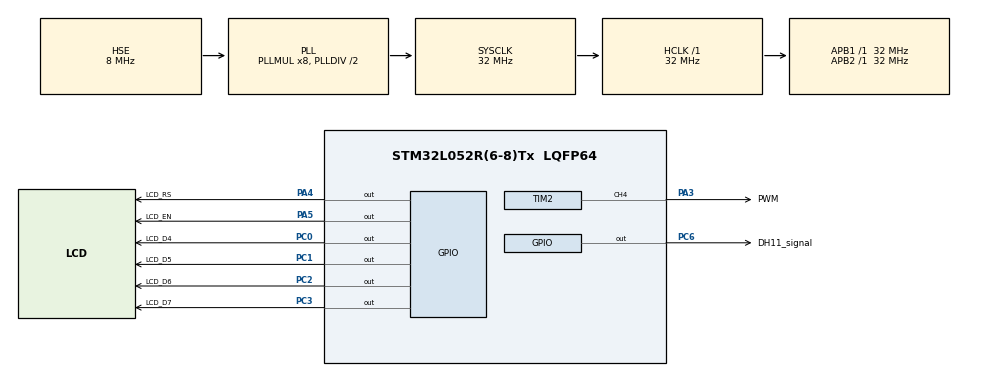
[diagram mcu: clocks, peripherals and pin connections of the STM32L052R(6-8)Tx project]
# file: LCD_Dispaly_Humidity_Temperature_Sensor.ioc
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Mcu.Family=STM32L0
Mcu.Name=STM32L052R(6-8)Tx
Mcu.Package=LQFP64
NVIC.TIM2_IRQn=true\:3\:0\:true\:false\:true\:true
NVIC.TIM6_DAC_IRQn=true\:2\:0\:true\:false\:true\:true
PA13.Mode=Serial_Wire
PA13.Signal=SYS_SWDIO
PA14.Mode=Serial_Wire
PA14.Signal=SYS_SWCLK
PA3.GPIO_Label=PWM
PA3.Signal=S_TIM2_CH4
PA4.GPIO_Label=LCD_RS
PA4.Signal=GPIO_Output
PA5.GPIO_Label=LCD_EN
PA5.Signal=GPIO_Output
PC0.GPIO_Label=LCD_D4
PC0.Signal=GPIO_Output
PC1.GPIO_Label=LCD_D5
PC1.Signal=GPIO_Output
PC14-OSC32_IN.Mode=LSE-External-Oscillator
PC14-OSC32_IN.Signal=RCC_OSC32_IN
PC15-OSC32_OUT.Mode=LSE-External-Oscillator
PC15-OSC32_OUT.Signal=RCC_OSC32_OUT
PC2.GPIO_Label=LCD_D6
PC2.Signal=GPIO_Output
PC3.GPIO_Label=LCD_D7
PC3.Signal=GPIO_Output
PC6.GPIO_Label=DH11_signal
PC6.PinState=GPIO_PIN_SET
PC6.Signal=GPIO_Output
PH0-OSC_IN.Mode=HSE-External-Oscillator
PH0-OSC_IN.Signal=RCC_OSC_IN
PH1-OSC_OUT.Mode=HSE-External-Oscillator
PH1-OSC_OUT.Signal=RCC_OSC_OUT
ProjectManager.HeapSize=0x200
ProjectManager.StackSize=0x400
ProjectManager.TargetToolchain=MDK-ARM V5
RCC.AHBFreq_Value=32000000
RCC.APB1Freq_Value=32000000
RCC.APB1TimFreq_Value=32000000
RCC.APB2Freq_Value=32000000
RCC.APB2TimFreq_Value=32000000
RCC.HCLKFreq_Value=32000000
RCC.HSE_VALUE=8000000
RCC.HSI16_VALUE=16000000
RCC.HSI48_VALUE=48000000
RCC.HSI_VALUE=16000000
RCC.MSI_VALUE=2097000
RCC.PLLMUL=RCC_PLLMUL_8
RCC.PLLSourceVirtual=RCC_PLLSOURCE_HSE
RCC.SYSCLKFreq_VALUE=32000000
RCC.SYSCLKSource=RCC_SYSCLKSOURCE_PLLCLK
RCC.VCOOutputFreq_Value=64000000
SH.S_TIM2_CH4.0=TIM2_CH4,PWM Generation4 CH4
TIM2.Channel-PWM\ Generation4\ CH4=TIM_CHANNEL_4
TIM2.Period=1000
TIM2.Prescaler=32
TIM21.Period=65535
TIM21.Prescaler=32
TIM6.Period=1000
TIM6.Prescaler=32
VP_TIM21_VS_ClockSourceINT.Mode=Internal
VP_TIM2_VS_ClockSourceINT.Mode=Internal
VP_TIM6_VS_ClockSourceINT.Mode=Enable_Timer
board=LCD_Dispaly_Humidity_Temperature_Sensor

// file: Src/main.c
/**
  ******************************************************************************
  * @file           : main.c
  * @brief          : Main program body
  ******************************************************************************
  ** This notice applies to any and all portions of this file
  * that are not between comment pairs USER CODE BEGIN and
  * USER CODE END. Other portions of this file, whether
  * inserted by the user or by software development tools
  * are owned by their respective copyright owners.
  *
  * COPYRIGHT(c) 2018 STMicroelectronics
  *
  * Redistribution and use in source and binary forms, with or without modification,
  * are permitted provided that the following conditions are met:
  *   1. Redistributions of source code must retain the above copyright notice,
  *      this list of conditions and the following disclaimer.
  *   2. Redistributions in binary form must reproduce the above copyright notice,
  *      this list of conditions and the following disclaimer in the documentation
  *      and/or other materials provided with the distribution.
  *   3. Neither the name of STMicroelectronics nor the names of its contributors
  *      may be used to endorse or promote products derived from this software
  *      without specific prior written permission.
  *
  * THIS SOFTWARE IS PROVIDED BY THE COPYRIGHT HOLDERS AND CONTRIBUTORS "AS IS"
  * AND ANY EXPRESS OR IMPLIED WARRANTIES, INCLUDING, BUT NOT LIMITED TO, THE
  * IMPLIED WARRANTIES OF MERCHANTABILITY AND FITNESS FOR A PARTICULAR PURPOSE ARE
  * DISCLAIMED. IN NO EVENT SHALL THE COPYRIGHT HOLDER OR CONTRIBUTORS BE LIABLE
  * FOR ANY DIRECT, INDIRECT, INCIDENTAL, SPECIAL, EXEMPLARY, OR CONSEQUENTIAL
  * DAMAGES (INCLUDING, BUT NOT LIMITED TO, PROCUREMENT OF SUBSTITUTE GOODS OR
  * SERVICES; LOSS OF USE, DATA, OR PROFITS; OR BUSINESS INTERRUPTION) HOWEVER
  * CAUSED AND ON ANY THEORY OF LIABILITY, WHETHER IN CONTRACT, STRICT LIABILITY,
  * OR TORT (INCLUDING NEGLIGENCE OR OTHERWISE) ARISING IN ANY WAY OUT OF THE USE
  * OF THIS SOFTWARE, EVEN IF ADVISED OF THE POSSIBILITY OF SUCH DAMAGE.
  *
  ******************************************************************************
  */
#include "main.h"
#include "stm32l0xx_hal.h"

/* USER CODE BEGIN Includes */
#include <string.h>
/* USER CODE END Includes */

TIM_HandleTypeDef htim2;
TIM_HandleTypeDef htim6;
TIM_HandleTypeDef htim21;

/* USER CODE BEGIN PV */
/* Private variables ---------------------------------------------------------*/
typedef struct{
	uint8_t temparature;
	uint8_t humidity;
}DH11_Dev;

uint8_t Message[][32]={
				"Hello World My name is XXX",
				"Humidity=",
				"Temperature=",
};

uint16_t timer6 = 0;
int8_t Is_it_wrong;

/* USER CODE END PV */

void SystemClock_Config(void);
static void MX_GPIO_Init(void);
static void MX_TIM2_Init(void);
static void MX_TIM6_Init(void);
static void MX_TIM21_Init(void);
void HAL_TIM_MspPostInit(TIM_HandleTypeDef *htim);

/* USER CODE BEGIN PFP */
/* Private function prototypes -----------------------------------------------*/

void delay_us(uint16_t _1us);
void LCD_initial(void);
void LCD_Write_instruction(uint8_t data);
void LCD_Write_Data(uint8_t data);
void LCD_Write_instruction_8Bits(uint8_t data);
void LCD_Write_Data_8Bits(uint8_t data);
void LCD_Clear_Display(void);
void LCD_Return_Home(void);
void LCD_Entry_Mode_Set(uint8_t I_D,uint8_t S);
void LCD_Display_ON_OFF_Control(uint8_t D,uint8_t C,uint8_t B);
void LCD_Cursor_or_Display_Shift(uint8_t S_C,uint8_t R_L);
void LCD_Function_Configure(uint8_t DL,uint8_t N,uint8_t F);
void LCD_Set_CGRAM_Address(uint8_t AC_5bits);
void LCD_Set_DDRAM_Address(uint8_t AC_6bits);
void LCD_String_Display(uint8_t a,uint8_t b);

int8_t DH11_Read(DH11_Dev* dev);

/* USER CODE END PFP */

/* USER CODE BEGIN 0 */
void HAL_TIM_PeriodElapsedCallback(TIM_HandleTypeDef *htim){
	if(htim->Instance == TIM6){
		timer6 = (timer6 > 0)?timer6 - 1:0;
	}
}
/* USER CODE END 0 */

int main(void)
{
  /* USER CODE BEGIN 1 */
	uint8_t i = 0;
	uint16_t PWM_Value = 800;
	DH11_Dev DH11;
  /* USER CODE END 1 */

  /* MCU Configuration----------------------------------------------------------*/

  /* Reset of all peripherals, Initializes the Flash interface and the Systick. */
  HAL_Init();

  /* Configure the system clock */
  SystemClock_Config();

  /* Initialize all configured peripherals */
  MX_GPIO_Init();
  MX_TIM2_Init();
  MX_TIM6_Init();
  MX_TIM21_Init();
  /* USER CODE BEGIN 2 */
	LCD_initial();

	HAL_TIM_Base_Start_IT(&htim6);
	HAL_TIM_Base_Start(&htim21);
	HAL_TIM_PWM_Start_IT(&htim2,TIM_CHANNEL_4);
	__HAL_TIM_SET_COMPARE(&htim2,TIM_CHANNEL_4,PWM_Value);
	LCD_String_Display(0x00,0);
	LCD_Write_instruction_8Bits(0x80|20);
	for(i=0;i<strlen("Humidity=");i++)
		LCD_Write_Data_8Bits(Message[1][i]);
	LCD_Write_instruction_8Bits(0xC0|20);
	for(i=0;i<strlen("Temperature=");i++)
		LCD_Write_Data_8Bits(Message[2][i]);
	//HAL_Delay(500);;
  /* USER CODE END 2 */

  /* Infinite loop */
  /* USER CODE BEGIN WHILE */
  while (1)
  {
		if(timer6 == 0){
			timer6 = 499;
			Is_it_wrong = DH11_Read(&DH11);
			LCD_Write_instruction_8Bits(0x80|29);
			LCD_Write_Data_8Bits(((DH11.humidity/10)%10)+ 0x30);
			LCD_Write_Data_8Bits((DH11.humidity%10)+ 0x30);
			LCD_Write_instruction_8Bits(0xC0|32);
			LCD_Write_Data_8Bits(((DH11.temparature/10)%10)+ 0x30);
			LCD_Write_Data_8Bits((DH11.temparature%10)+ 0x30);
		}
  /* USER CODE END WHILE */

  }

}

void SystemClock_Config(void)
{

  RCC_OscInitTypeDef RCC_OscInitStruct;
  RCC_ClkInitTypeDef RCC_ClkInitStruct;

    /**Configure the main internal regulator output voltage
    */
  __HAL_PWR_VOLTAGESCALING_CONFIG(PWR_REGULATOR_VOLTAGE_SCALE1);

    /**Initializes the CPU, AHB and APB busses clocks
    */
  RCC_OscInitStruct.OscillatorType = RCC_OSCILLATORTYPE_HSE;
  RCC_OscInitStruct.HSEState = RCC_HSE_ON;
  RCC_OscInitStruct.PLL.PLLState = RCC_PLL_ON;
  RCC_OscInitStruct.PLL.PLLSource = RCC_PLLSOURCE_HSE;
  RCC_OscInitStruct.PLL.PLLMUL = RCC_PLLMUL_8;
  RCC_OscInitStruct.PLL.PLLDIV = RCC_PLLDIV_2;
  if (HAL_RCC_OscConfig(&RCC_OscInitStruct) != HAL_OK)
  {
    _Error_Handler(__FILE__, __LINE__);
  }

    /**Initializes the CPU, AHB and APB busses clocks
    */
  RCC_ClkInitStruct.ClockType = RCC_CLOCKTYPE_HCLK|RCC_CLOCKTYPE_SYSCLK
                              |RCC_CLOCKTYPE_PCLK1|RCC_CLOCKTYPE_PCLK2;
  RCC_ClkInitStruct.SYSCLKSource = RCC_SYSCLKSOURCE_PLLCLK;
  RCC_ClkInitStruct.AHBCLKDivider = RCC_SYSCLK_DIV1;
  RCC_ClkInitStruct.APB1CLKDivider = RCC_HCLK_DIV1;
  RCC_ClkInitStruct.APB2CLKDivider = RCC_HCLK_DIV1;

  if (HAL_RCC_ClockConfig(&RCC_ClkInitStruct, FLASH_LATENCY_1) != HAL_OK)
  {
    _Error_Handler(__FILE__, __LINE__);
  }

    /**Configure the Systick interrupt time
    */
  HAL_SYSTICK_Config(HAL_RCC_GetHCLKFreq()/1000);

    /**Configure the Systick
    */
  HAL_SYSTICK_CLKSourceConfig(SYSTICK_CLKSOURCE_HCLK);

  /* SysTick_IRQn interrupt configuration */
  HAL_NVIC_SetPriority(SysTick_IRQn, 0, 0);
}

/* TIM2 init function */
static void MX_TIM2_Init(void)
{

  TIM_ClockConfigTypeDef sClockSourceConfig;
  TIM_MasterConfigTypeDef sMasterConfig;
  TIM_OC_InitTypeDef sConfigOC;

  htim2.Instance = TIM2;
  htim2.Init.Prescaler = 32;
  htim2.Init.CounterMode = TIM_COUNTERMODE_UP;
  htim2.Init.Period = 1000;
  htim2.Init.ClockDivision = TIM_CLOCKDIVISION_DIV1;
  if (HAL_TIM_Base_Init(&htim2) != HAL_OK)
  {
    _Error_Handler(__FILE__, __LINE__);
  }

  sClockSourceConfig.ClockSource = TIM_CLOCKSOURCE_INTERNAL;
  if (HAL_TIM_ConfigClockSource(&htim2, &sClockSourceConfig) != HAL_OK)
  {
    _Error_Handler(__FILE__, __LINE__);
  }

  if (HAL_TIM_PWM_Init(&htim2) != HAL_OK)
  {
    _Error_Handler(__FILE__, __LINE__);
  }

  sMasterConfig.MasterOutputTrigger = TIM_TRGO_RESET;
  sMasterConfig.MasterSlaveMode = TIM_MASTERSLAVEMODE_DISABLE;
  if (HAL_TIMEx_MasterConfigSynchronization(&htim2, &sMasterConfig) != HAL_OK)
  {
    _Error_Handler(__FILE__, __LINE__);
  }

  sConfigOC.OCMode = TIM_OCMODE_PWM1;
  sConfigOC.Pulse = 0;
  sConfigOC.OCPolarity = TIM_OCPOLARITY_HIGH;
  sConfigOC.OCFastMode = TIM_OCFAST_DISABLE;
  if (HAL_TIM_PWM_ConfigChannel(&htim2, &sConfigOC, TIM_CHANNEL_4) != HAL_OK)
  {
    _Error_Handler(__FILE__, __LINE__);
  }

  HAL_TIM_MspPostInit(&htim2);

}

/* TIM6 init function */
static void MX_TIM6_Init(void)
{

  TIM_MasterConfigTypeDef sMasterConfig;

  htim6.Instance = TIM6;
  htim6.Init.Prescaler = 32;
  htim6.Init.CounterMode = TIM_COUNTERMODE_UP;
  htim6.Init.Period = 1000;
  if (HAL_TIM_Base_Init(&htim6) != HAL_OK)
  {
    _Error_Handler(__FILE__, __LINE__);
  }

  sMasterConfig.MasterOutputTrigger = TIM_TRGO_RESET;
  sMasterConfig.MasterSlaveMode = TIM_MASTERSLAVEMODE_DISABLE;
  if (HAL_TIMEx_MasterConfigSynchronization(&htim6, &sMasterConfig) != HAL_OK)
  {
    _Error_Handler(__FILE__, __LINE__);
  }

}

/* TIM21 init function */
static void MX_TIM21_Init(void)
{

  TIM_ClockConfigTypeDef sClockSourceConfig;
  TIM_MasterConfigTypeDef sMasterConfig;

  htim21.Instance = TIM21;
  htim21.Init.Prescaler = 32;
  htim21.Init.CounterMode = TIM_COUNTERMODE_UP;
  htim21.Init.Period = 65535;
  htim21.Init.ClockDivision = TIM_CLOCKDIVISION_DIV1;
  if (HAL_TIM_Base_Init(&htim21) != HAL_OK)
  {
    _Error_Handler(__FILE__, __LINE__);
  }

  sClockSourceConfig.ClockSource = TIM_CLOCKSOURCE_INTERNAL;
  if (HAL_TIM_ConfigClockSource(&htim21, &sClockSourceConfig) != HAL_OK)
  {
    _Error_Handler(__FILE__, __LINE__);
  }

  sMasterConfig.MasterOutputTrigger = TIM_TRGO_RESET;
  sMasterConfig.MasterSlaveMode = TIM_MASTERSLAVEMODE_DISABLE;
  if (HAL_TIMEx_MasterConfigSynchronization(&htim21, &sMasterConfig) != HAL_OK)
  {
    _Error_Handler(__FILE__, __LINE__);
  }

}

/** Configure pins as
        * Analog
        * Input
        * Output
        * EVENT_OUT
        * EXTI
*/
static void MX_GPIO_Init(void)
{

  GPIO_InitTypeDef GPIO_InitStruct;

  /* GPIO Ports Clock Enable */
  __HAL_RCC_GPIOC_CLK_ENABLE();
  __HAL_RCC_GPIOH_CLK_ENABLE();
  __HAL_RCC_GPIOA_CLK_ENABLE();

  /*Configure GPIO pin Output Level */
  HAL_GPIO_WritePin(GPIOC, LCD_D4_Pin|LCD_D5_Pin|LCD_D6_Pin|LCD_D7_Pin, GPIO_PIN_RESET);

  /*Configure GPIO pin Output Level */
  HAL_GPIO_WritePin(GPIOA, LCD_RS_Pin|LCD_EN_Pin, GPIO_PIN_RESET);

  /*Configure GPIO pin Output Level */
  HAL_GPIO_WritePin(DH11_signal_GPIO_Port, DH11_signal_Pin, GPIO_PIN_SET);

  /*Configure GPIO pins : LCD_D4_Pin LCD_D5_Pin LCD_D6_Pin LCD_D7_Pin
                           DH11_signal_Pin */
  GPIO_InitStruct.Pin = LCD_D4_Pin|LCD_D5_Pin|LCD_D6_Pin|LCD_D7_Pin
                          |DH11_signal_Pin;
  GPIO_InitStruct.Mode = GPIO_MODE_OUTPUT_PP;
  GPIO_InitStruct.Pull = GPIO_NOPULL;
  GPIO_InitStruct.Speed = GPIO_SPEED_FREQ_LOW;
  HAL_GPIO_Init(GPIOC, &GPIO_InitStruct);

  /*Configure GPIO pins : LCD_RS_Pin LCD_EN_Pin */
  GPIO_InitStruct.Pin = LCD_RS_Pin|LCD_EN_Pin;
  GPIO_InitStruct.Mode = GPIO_MODE_OUTPUT_PP;
  GPIO_InitStruct.Pull = GPIO_NOPULL;
  GPIO_InitStruct.Speed = GPIO_SPEED_FREQ_LOW;
  HAL_GPIO_Init(GPIOA, &GPIO_InitStruct);

}

/* USER CODE BEGIN 4 */
void LCD_initial(void){
	LCD_Function_Configure(0,1,0);
	LCD_Display_ON_OFF_Control(1,1,1);	// Display on, cursor on
	LCD_Clear_Display();
	LCD_Entry_Mode_Set(1,0);
	HAL_Delay(100);//delay 100ms
}

void LCD_Clear_Display(void){
	LCD_Write_instruction_8Bits(0x01);
}
void LCD_Return_Home(void){
	LCD_Write_instruction_8Bits(0x02);
}
void LCD_Entry_Mode_Set(uint8_t I_D,uint8_t S){
	LCD_Write_instruction_8Bits(0x04|((I_D&0x01)<<1)|(S&0x01));
}
void LCD_Display_ON_OFF_Control(uint8_t D,uint8_t C,uint8_t B){
	LCD_Write_instruction_8Bits(0x08|((D&0x01)<<2)|((C&0x01)<<1)|(B&0x01));
}

void LCD_Cursor_or_Display_Shift(uint8_t S_C,uint8_t R_L){
	LCD_Write_instruction_8Bits(0x10|((S_C&0x01)<<3)|((R_L&0x01)<<2));
}
void LCD_Function_Configure(uint8_t DL,uint8_t N,uint8_t F){
	LCD_Write_instruction_8Bits(0x20|((DL&0x01)<<4)|((N&0x01)<<3)|((F&0x01)<<2));
}
void LCD_Set_CGRAM_Address(uint8_t AC_5bits){
	LCD_Write_instruction_8Bits(0x40|(AC_5bits&0x3F));
}
void LCD_Set_DDRAM_Address(uint8_t AC_6bits){
	LCD_Write_instruction_8Bits(0x80|(AC_6bits&0x7F));
}

void LCD_Write_instruction_8Bits(uint8_t data){
	LCD_Write_instruction((data&0xF0)>>4);
	LCD_Write_instruction(data&0x0F);
}
void LCD_Write_Data_8Bits(uint8_t data){
	LCD_Write_Data((data&0xF0)>>4);
	LCD_Write_Data(data&0x0F);
}

void LCD_Write_instruction(uint8_t data){
	HAL_GPIO_WritePin(LCD_RS_GPIO_Port,LCD_RS_Pin,GPIO_PIN_RESET);
	HAL_GPIO_WritePin(LCD_EN_GPIO_Port,LCD_EN_Pin,GPIO_PIN_SET);
	HAL_GPIO_WritePin(LCD_D7_GPIO_Port,LCD_D7_Pin,(data&0x08));
	HAL_GPIO_WritePin(LCD_D6_GPIO_Port,LCD_D6_Pin,(data&0x04));
	HAL_GPIO_WritePin(LCD_D5_GPIO_Port,LCD_D5_Pin,(data&0x02));
	HAL_GPIO_WritePin(LCD_D4_GPIO_Port,LCD_D4_Pin,(data&0x01));
	delay_us(60);
	HAL_GPIO_WritePin(LCD_EN_GPIO_Port,LCD_EN_Pin,GPIO_PIN_RESET);
	delay_us(60);

}
void LCD_Write_Data(uint8_t data){
	HAL_GPIO_WritePin(LCD_RS_GPIO_Port,LCD_RS_Pin,GPIO_PIN_SET);
	HAL_GPIO_WritePin(LCD_EN_GPIO_Port,LCD_EN_Pin,GPIO_PIN_SET);
	HAL_GPIO_WritePin(LCD_D7_GPIO_Port,LCD_D7_Pin,(data&0x08));
	HAL_GPIO_WritePin(LCD_D6_GPIO_Port,LCD_D6_Pin,(data&0x04));
	HAL_GPIO_WritePin(LCD_D5_GPIO_Port,LCD_D5_Pin,(data&0x02));
	HAL_GPIO_WritePin(LCD_D4_GPIO_Port,LCD_D4_Pin,(data&0x01));
	delay_us(60);
	HAL_GPIO_WritePin(LCD_EN_GPIO_Port,LCD_EN_Pin,GPIO_PIN_RESET);
	delay_us(60);
}
void LCD_String_Display(uint8_t a,uint8_t b){
	unsigned char i=0;

	LCD_Write_instruction_8Bits(0x80|a);

	while(Message[b][i] != 0){
		if(i == 20)
			LCD_Write_instruction_8Bits(0xc0);
		LCD_Write_Data_8Bits(Message[b][i]);
		i++;
	}
}

int8_t DH11_Read(DH11_Dev* dev){
	uint8_t i, j, temp;
	uint8_t data[5] = {0x00, 0x00, 0x00, 0x00, 0x00};
	GPIO_InitTypeDef GPIO_InitStructure;

	GPIO_InitStructure.Pin = DH11_signal_Pin;
  GPIO_InitStructure.Mode = GPIO_MODE_OUTPUT_PP;
  GPIO_InitStructure.Pull = GPIO_NOPULL;
  GPIO_InitStructure.Speed = GPIO_SPEED_FREQ_LOW;
  HAL_GPIO_Init(GPIOC, &GPIO_InitStructure);

	HAL_GPIO_WritePin(DH11_signal_GPIO_Port,DH11_signal_Pin,GPIO_PIN_RESET);

	__HAL_TIM_SET_COUNTER(&htim21,0);
	while((__HAL_TIM_GET_COUNTER(&htim21)) <= 18000);

	HAL_GPIO_WritePin(DH11_signal_GPIO_Port,DH11_signal_Pin,GPIO_PIN_SET);

	__HAL_TIM_SET_COUNTER(&htim21,0);
	while((__HAL_TIM_GET_COUNTER(&htim21)) <= 40);

	GPIO_InitStructure.Mode = GPIO_MODE_INPUT;
	HAL_GPIO_Init(GPIOC, &GPIO_InitStructure);
	//DHT11 ACK
	//should be LOW for at least 80us
	//while(!GPIO_ReadInputDataBit(dev->port, dev->pin));
	__HAL_TIM_SET_COUNTER(&htim21,0);
	while(!(HAL_GPIO_ReadPin(DH11_signal_GPIO_Port,DH11_signal_Pin))){
		if((__HAL_TIM_GET_COUNTER(&htim21)) > 100)
			return -1;
	}
	__HAL_TIM_SET_COUNTER(&htim21,0);
	while(HAL_GPIO_ReadPin(DH11_signal_GPIO_Port,DH11_signal_Pin)){
		if((__HAL_TIM_GET_COUNTER(&htim21)) > 100)
			return -1;
	}
	//Read 40 bits (8*5)

	for(j=0;j<5;++j){
		for(i=0;i<8;++i){
			//LOW for 50us
			while(!(HAL_GPIO_ReadPin(DH11_signal_GPIO_Port,DH11_signal_Pin)));
			//Start counter
			__HAL_TIM_SET_COUNTER(&htim21,0);
			//HIGH for 26-28us = 0 / 70us = 1
			while(HAL_GPIO_ReadPin(DH11_signal_GPIO_Port,DH11_signal_Pin));

			temp = __HAL_TIM_GET_COUNTER(&htim21);
			data[j] = data[j] << 1;
			if(temp > 40)
				data[j] = data[j] + 1;

		}
	}

	if(data[4] != (data[0] + data[2]))
		return -2;

	dev->temparature = data[2];
	dev->humidity = data[0];

	return 1;
}

void delay_us(uint16_t _1us){
	uint16_t i,j;
	for(i=0;i<_1us;i++)
		for(j=0;j<8;j++);
}

/* USER CODE END 4 */

void _Error_Handler(char *file, int line)
{
  while(1)
  {
  }
}

/************************ (C) COPYRIGHT STMicroelectronics *****END OF FILE****/
